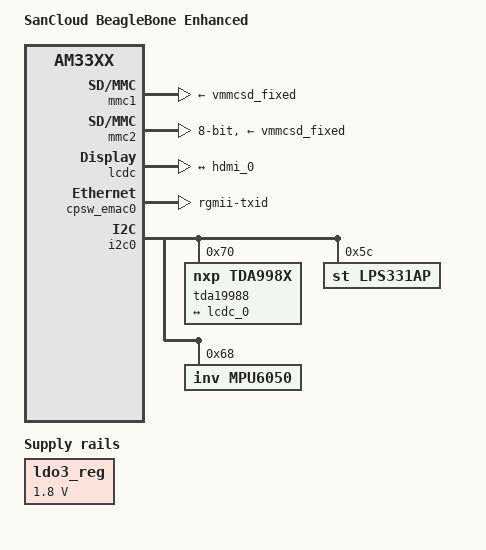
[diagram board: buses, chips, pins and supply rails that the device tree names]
/*
 * Copyright (C) 2012 Texas Instruments Incorporated - http://www.ti.com/
 *
 * This program is free software; you can redistribute it and/or modify
 * it under the terms of the GNU General Public License version 2 as
 * published by the Free Software Foundation.
 */
/dts-v1/;

#include "am33xx.dtsi"
#include "am335x-bone-common.dtsi"
/* #include "am33xx-overlay-edma-fix.dtsi" */
#include <dt-bindings/display/tda998x.h>

/* pruss: pick one: */

/*
 * /etc/modprobe.d/pruss-blacklist.conf
 *
 * blacklist uio_pruss
 */

/* #include "am33xx-pruss-rproc.dtsi" */

/*
 * /etc/modprobe.d/pruss-blacklist.conf
 *
 * blacklist pruss
 * blacklist pruss_intc
 * blacklist pru-rproc
 */

/* #include "am33xx-pruss-uio.dtsi" */

/ {
	model = "SanCloud BeagleBone Enhanced";
	compatible = "sancloud,am335x-boneenhanced", "ti,am335x-bone-black", "ti,am335x-bone", "ti,am33xx";
};

&ldo3_reg {
	regulator-min-microvolt = <1800000>;
	regulator-max-microvolt = <1800000>;
	regulator-always-on;
};

&mmc1 {
	vmmc-supply = <&vmmcsd_fixed>;
};

&mmc2 {
	vmmc-supply = <&vmmcsd_fixed>;
	pinctrl-names = "default";
	pinctrl-0 = <&emmc_pins>;
	bus-width = <8>;
	status = "okay";
	ti,vcc-aux-disable-is-sleep;
};

&cpu0_opp_table {
	/*
	 * All PG 2.0 silicon may not support 1GHz but some of the early
	 * BeagleBone Blacks have PG 2.0 silicon which is guaranteed
	 * to support 1GHz OPP so enable it for PG 2.0 on this board.
	 */
	oppnitro@1000000000 {
		opp-supported-hw = <0x06 0x0100>;
	};
};

&am33xx_pinmux {
	pinctrl-names = "default";
	pinctrl-0 = <&usb_hub_ctrl>;

	nxp_hdmi_bonelt_pins: nxp_hdmi_bonelt_pins {
		pinctrl-single,pins = <
			AM33XX_IOPAD(0x9b0, PIN_OUTPUT_PULLDOWN | MUX_MODE3)	/* xdma_event_intr0 */
			AM33XX_IOPAD(0x8a0, PIN_OUTPUT | MUX_MODE0)		/* lcd_data0.lcd_data0 */
			AM33XX_IOPAD(0x8a4, PIN_OUTPUT | MUX_MODE0)		/* lcd_data1.lcd_data1 */
			AM33XX_IOPAD(0x8a8, PIN_OUTPUT | MUX_MODE0)		/* lcd_data2.lcd_data2 */
			AM33XX_IOPAD(0x8ac, PIN_OUTPUT | MUX_MODE0)		/* lcd_data3.lcd_data3 */
			AM33XX_IOPAD(0x8b0, PIN_OUTPUT | MUX_MODE0)		/* lcd_data4.lcd_data4 */
			AM33XX_IOPAD(0x8b4, PIN_OUTPUT | MUX_MODE0)		/* lcd_data5.lcd_data5 */
			AM33XX_IOPAD(0x8b8, PIN_OUTPUT | MUX_MODE0)		/* lcd_data6.lcd_data6 */
			AM33XX_IOPAD(0x8bc, PIN_OUTPUT | MUX_MODE0)		/* lcd_data7.lcd_data7 */
			AM33XX_IOPAD(0x8c0, PIN_OUTPUT | MUX_MODE0)		/* lcd_data8.lcd_data8 */
			AM33XX_IOPAD(0x8c4, PIN_OUTPUT | MUX_MODE0)		/* lcd_data9.lcd_data9 */
			AM33XX_IOPAD(0x8c8, PIN_OUTPUT | MUX_MODE0)		/* lcd_data10.lcd_data10 */
			AM33XX_IOPAD(0x8cc, PIN_OUTPUT | MUX_MODE0)		/* lcd_data11.lcd_data11 */
			AM33XX_IOPAD(0x8d0, PIN_OUTPUT | MUX_MODE0)		/* lcd_data12.lcd_data12 */
			AM33XX_IOPAD(0x8d4, PIN_OUTPUT | MUX_MODE0)		/* lcd_data13.lcd_data13 */
			AM33XX_IOPAD(0x8d8, PIN_OUTPUT | MUX_MODE0)		/* lcd_data14.lcd_data14 */
			AM33XX_IOPAD(0x8dc, PIN_OUTPUT | MUX_MODE0)		/* lcd_data15.lcd_data15 */
			AM33XX_IOPAD(0x8e0, PIN_OUTPUT_PULLDOWN | MUX_MODE0)	/* lcd_vsync.lcd_vsync */
			AM33XX_IOPAD(0x8e4, PIN_OUTPUT_PULLDOWN | MUX_MODE0)	/* lcd_hsync.lcd_hsync */
			AM33XX_IOPAD(0x8e8, PIN_OUTPUT_PULLDOWN | MUX_MODE0)	/* lcd_pclk.lcd_pclk */
			AM33XX_IOPAD(0x8ec, PIN_OUTPUT_PULLDOWN | MUX_MODE0)	/* lcd_ac_bias_en.lcd_ac_bias_en */
		>;
	};
	nxp_hdmi_bonelt_off_pins: nxp_hdmi_bonelt_off_pins {
		pinctrl-single,pins = <
			AM33XX_IOPAD(0x9b0, PIN_OUTPUT_PULLDOWN | MUX_MODE3)	/* xdma_event_intr0 */
		>;
	};

	cpsw_default: cpsw_default {
		pinctrl-single,pins = <
			/* Slave 1 */
			0x114 (PIN_OUTPUT_PULLDOWN | MUX_MODE2)	/* mii1_txen.rgmii1_tctl */
			0x118 (PIN_INPUT_PULLDOWN | MUX_MODE2)	/* mii1_rxdv.rgmii1_rctl */
			0x11c (PIN_OUTPUT_PULLDOWN | MUX_MODE2)	/* mii1_txd3.rgmii1_td3 */
			0x120 (PIN_OUTPUT_PULLDOWN | MUX_MODE2)	/* mii1_txd2.rgmii1_td2 */
			0x124 (PIN_OUTPUT_PULLDOWN | MUX_MODE2)	/* mii1_txd1.rgmii1_td1 */
			0x128 (PIN_OUTPUT_PULLDOWN | MUX_MODE2)	/* mii1_txd0.rgmii1_td0 */
			0x12c (PIN_OUTPUT_PULLDOWN | MUX_MODE2)	/* mii1_txclk.rgmii1_tclk */
			0x130 (PIN_INPUT_PULLDOWN | MUX_MODE2)	/* mii1_rxclk.rgmii1_rclk */
			0x134 (PIN_INPUT_PULLDOWN | MUX_MODE2)	/* mii1_rxd3.rgmii1_rd3 */
			0x138 (PIN_INPUT_PULLDOWN | MUX_MODE2)	/* mii1_rxd2.rgmii1_rd2 */
			0x13c (PIN_INPUT_PULLDOWN | MUX_MODE2)	/* mii1_rxd1.rgmii1_rd1 */
			0x140 (PIN_INPUT_PULLDOWN | MUX_MODE2)	/* mii1_rxd0.rgmii1_rd0 */
		>;
	};

	cpsw_sleep: cpsw_sleep {
		pinctrl-single,pins = <
			/* Slave 1 reset value */
			0x114 (PIN_INPUT_PULLDOWN | MUX_MODE7)
			0x118 (PIN_INPUT_PULLDOWN | MUX_MODE7)
			0x11c (PIN_INPUT_PULLDOWN | MUX_MODE7)
			0x120 (PIN_INPUT_PULLDOWN | MUX_MODE7)
			0x124 (PIN_INPUT_PULLDOWN | MUX_MODE7)
			0x128 (PIN_INPUT_PULLDOWN | MUX_MODE7)
			0x12c (PIN_INPUT_PULLDOWN | MUX_MODE7)
			0x130 (PIN_INPUT_PULLDOWN | MUX_MODE7)
			0x134 (PIN_INPUT_PULLDOWN | MUX_MODE7)
			0x138 (PIN_INPUT_PULLDOWN | MUX_MODE7)
			0x13c (PIN_INPUT_PULLDOWN | MUX_MODE7)
			0x140 (PIN_INPUT_PULLDOWN | MUX_MODE7)
		>;
	};

	davinci_mdio_default: davinci_mdio_default {
		pinctrl-single,pins = <
			/* MDIO */
			0x148 (PIN_INPUT_PULLUP | SLEWCTRL_FAST | MUX_MODE0)	/* mdio_data.mdio_data */
			0x14c (PIN_OUTPUT_PULLUP | MUX_MODE0)			/* mdio_clk.mdio_clk */
		>;
	};

	davinci_mdio_sleep: davinci_mdio_sleep {
		pinctrl-single,pins = <
			/* MDIO reset value */
			0x148 (PIN_INPUT_PULLDOWN | MUX_MODE7)
			0x14c (PIN_INPUT_PULLDOWN | MUX_MODE7)
		>;
	};

	usb_hub_ctrl: usb_hub_ctrl {
		pinctrl-single,pins = <
			0x144 (PIN_OUTPUT_PULLUP | MUX_MODE7)	/* mcasp0_ahclkr.gpio3_17 */
		>;
	};

	mpu6050_pins: pinmux_mpu6050_pins {
		pinctrl-single,pins = <
			0x168 (PIN_INPUT | MUX_MODE7)	/* spi0_sclk.gpio0_2 */
		>;
	};

	lps3331ap_pins: pinmux_lps3331ap_pins {
		pinctrl-single,pins = <
			0x6C (PIN_INPUT | MUX_MODE7)	/* conf_gpmc_a11.gpio1_27 */
		>;
	};
};

&lcdc {
	status = "okay";

	/* If you want to get 24 bit RGB and 16 BGR mode instead of
	 * current 16 bit RGB and 24 BGR modes, set the propety
	 * below to "crossed" and uncomment the video-ports -property
	 * in tda19988 node.
	 */
	blue-and-red-wiring = "straight";

	port {
		lcdc_0: endpoint@0 {
			remote-endpoint = <&hdmi_0>;
		};
	};
};

&mac {
	pinctrl-names = "default", "sleep";
	pinctrl-0 = <&cpsw_default>;
	pinctrl-1 = <&cpsw_sleep>;
};

&davinci_mdio {
	pinctrl-names = "default", "sleep";
	pinctrl-0 = <&davinci_mdio_default>;
	pinctrl-1 = <&davinci_mdio_sleep>;
};

&cpsw_emac0 {
	phy_id = <&davinci_mdio>, <0>;
	phy-mode = "rgmii-txid";
};

&i2c0 {
	tda19988: tda19988 {
		compatible = "nxp,tda998x";
		reg = <0x70>;

		pinctrl-names = "default", "off";
		pinctrl-0 = <&nxp_hdmi_bonelt_pins>;
		pinctrl-1 = <&nxp_hdmi_bonelt_off_pins>;

		/* Convert 24bit BGR to RGB, e.g. cross red and blue wiring */
		/* video-ports = <0x234501>; */

		#sound-dai-cells = <0>;
		audio-ports = <	AFMT_I2S	0x03>;

		ports {
			port@0 {
				hdmi_0: endpoint@0 {
					remote-endpoint = <&lcdc_0>;
				};
			};
		};
	};

	lps331ap: lps331ap@5C {
		compatible = "st,lps331ap";
		reg = <0x5C>;
		interrupts = <0>, <1>;
	};

	mpu6050: mpu6050@68 {
		compatible = "inv,mpu6050";
		reg = <0x68>;
		orientation = <0xff 0 0 0 1 0 0 0 0xff>;
		interrupts = <2 1>;
	};
};
